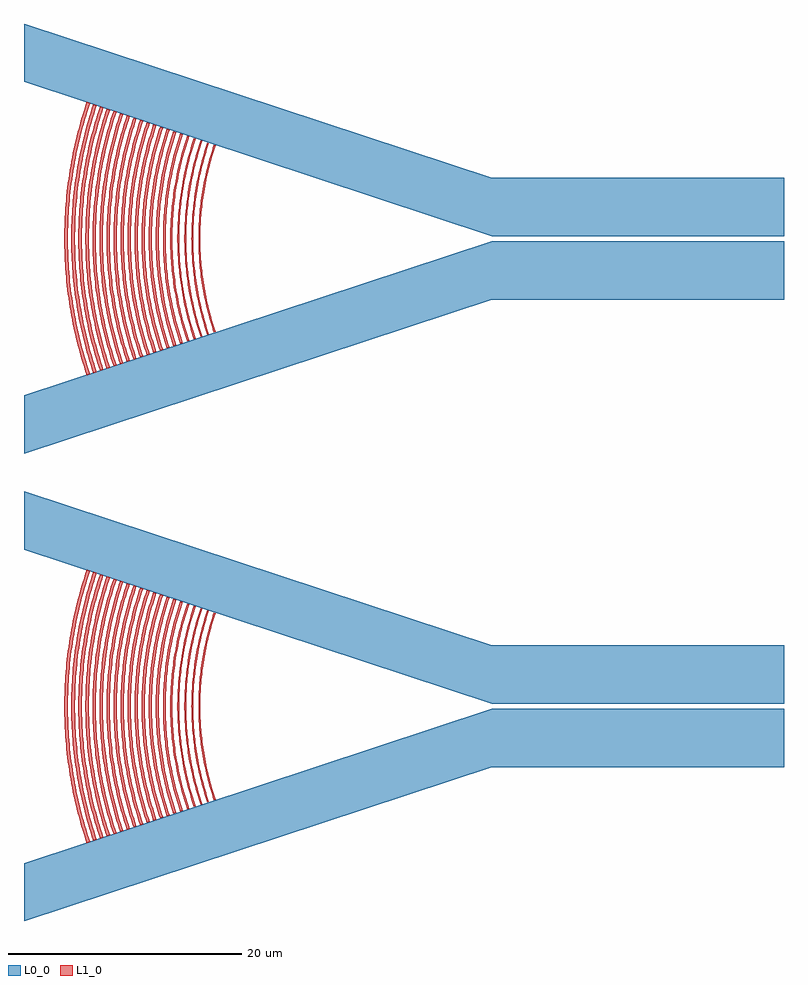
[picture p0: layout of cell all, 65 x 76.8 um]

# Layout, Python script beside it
from unicodedata import name
import numpy
import gdspy
from d2nn_construct import d2nn_construct

lib = gdspy.GdsLibrary()

def grating_demo(
    period,
    number_of_teeth,
    fill_frac,
    width,
    position,
    direction,
    lda=1,
    sin_theta=0,
    focus_distance=-1,
    focus_width=-1,
    tolerance=0.001,
    layer=0,
    datatype=0,
):
    """
    Straight or focusing grating.

    period          : grating period
    number_of_teeth : number of teeth in the grating
    fill_frac       : filling fraction of the teeth (w.r.t. the period)
    width           : width of the grating
    position        : grating position (feed point)
    direction       : one of {'+x', '-x', '+y', '-y'}
    lda             : free-space wavelength
    sin_theta       : sine of incidence angle
    focus_distance  : focus distance (negative for straight grating)
    focus_width     : if non-negative, the focusing area is included in
                      the result (usually for negative resists) and this
                      is the width of the waveguide connecting to the
                      grating
    tolerance       : same as in `path.parametric`
    layer           : GDSII layer number
    datatype        : GDSII datatype number

    Return `PolygonSet`
    """
    if focus_distance < 0:
        p = gdspy.L1Path(
            (
                position[0] - 0.5 * width,
                position[1] + 0.5 * (number_of_teeth - 1 + fill_frac) * period,
            ),
            "+x",
            period * fill_frac,
            [width],
            [],
            number_of_teeth,
            period,
            layer=layer,
            datatype=datatype,
        )
    else:
        neff = lda / float(period) + sin_theta
        qmin = int(focus_distance / float(period) + 0.5)
        p = gdspy.Path(period * fill_frac, position)
        c3 = neff ** 2 - sin_theta ** 2
        w = 0.5 * width
        for q in range(qmin, qmin + number_of_teeth):
            c1 = q * lda * sin_theta
            c2 = (q * lda) ** 2
            p.parametric(
                lambda t: (
                    width * t - w,
                    (c1 + neff * numpy.sqrt(c2 - c3 * (width * t - w) ** 2)) / c3,
                ),
                tolerance=tolerance,
                max_points=0,
                layer=layer,
                datatype=datatype,
            )
            p.x = position[0]
            p.y = position[1]
        sz = p.polygons[0].shape[0] // 2
        if focus_width == 0:
            p.polygons[0] = numpy.vstack((p.polygons[0][:sz, :], [position]))
        elif focus_width > 0:
            p.polygons[0] = numpy.vstack(
                (
                    p.polygons[0][:sz, :],
                    [
                        (position[0] + 0.5 * focus_width, position[1]),
                        (position[0] - 0.5 * focus_width, position[1]),
                    ],
                )
            )
        p.fracture()
    if direction == "-x":
        return p.rotate(0.5 * numpy.pi, position)
    elif direction == "+x":
        return p.rotate(-0.5 * numpy.pi, position)
    elif direction == "-y":
        return p.rotate(numpy.pi, position)
    else:
        return p

def grating_lumerical(
    period,
    number_of_teeth,
    fill_frac,
    width,
    position,
    direction,
    lda=1,
    sin_theta=0,
    focus_distance=-1,
    focus_width=-1,
    tolerance=0.001,
    layer=0,
    datatype=0,
):
    """
    Straight or focusing grating.

    period          : grating period
    number_of_teeth : number of teeth in the grating
    fill_frac       : filling fraction of the teeth (w.r.t. the period)
    width           : width of the grating
    position        : grating position (feed point)
    direction       : one of {'+x', '-x', '+y', '-y'}
    lda             : free-space wavelength
    sin_theta       : sine of incidence angle
    focus_distance  : focus distance (negative for straight grating)
    focus_width     : if non-negative, the focusing area is included in
                      the result (usually for negative resists) and this
                      is the width of the waveguide connecting to the
                      grating
    tolerance       : same as in `path.parametric`
    layer           : GDSII layer number
    datatype        : GDSII datatype number

    Return `PolygonSet`
    """
    tmp = lib.new_cell('tmp')
    if focus_distance < 0:
        p = gdspy.L1Path(
            (
                position[0] - 0.5 * width,
                position[1] + 0.5 * (number_of_teeth - 1 + fill_frac) * period,
            ),
            "+x",
            period * fill_frac,
            [width],
            [],
            number_of_teeth,
            period,
            layer=layer,
            datatype=datatype,
        )
        tmp.add(p)
    else:
        fill_frac = [0.15, 0.15, 0.15, 0.15, 0.17, 0.22, 0.25, 0.25, 0.27, 0.27, 0.264, 0.262, 0.263, 0.260, 0.264, 0.267, 0.289, 0.305, 0.314, 0.303]
        for q in range(number_of_teeth):
            p = gdspy.Path(fill_frac[q], position)
            c1 = q*period + focus_distance
            c2 = c1/focus_distance*focus_width/2 # tan(focusing angle) = focus_width/focus_distance
            p.parametric(
                lambda t: (
                    c2 * 2 * t - c2,
                    numpy.sqrt(c1**2 - (c2 * 2 * t - c2)**2),
                ),
                tolerance=tolerance,
                max_points=0,
                layer=layer,
                datatype=datatype,
            )
            p.fracture()
            tmp.add(p)

    if direction == "-x":
        return gdspy.CellArray(
            tmp, 1, 1, (0, 0), (position[0], position[1]), rotation = 90
        )
    elif direction == "+x":
        return gdspy.CellArray(
            tmp, 1, 1, (0, 0), (position[0], position[1]), rotation = - 90
        )
    elif direction == "-y":
        return gdspy.CellArray(
            tmp, 1, 1, (0, 0), (position[0], position[1]), rotation = 180
        )
    else:
        return gdspy.CellArray(
            tmp, 1, 1, (0, 0), (position[0], position[1]), rotation = 0
        )

if __name__ == "__main__":

    # Parameter
    width = 0.45
    ring_radius = 20.0
    big_margin = 10.0
    small_margin = 5.0
    taper_len = 50.0
    bus_len = 25.0 # waveguide length

    io_gap = 500.0
    wg_gap = 20.0
    ring_gaps = [0.06 + 0.02 * i for i in range(8)]

    # Grating Surround
    p_lumerical = gdspy.Path(
        small_margin, (0, 0), number_of_paths=2, distance=small_margin + width
    )
    p_lumerical.segment(40, "-x", final_distance=small_margin + 26.8)

    gratsur_lumerical = lib.new_cell("PGratSur_lumerical")
    gratsur_lumerical.add(p_lumerical)

    # Grating
    grat_lumerical = lib.new_cell("PGrat_lumerical")
    grat_lumerical.add(
        grating_lumerical(
            0.60,
            20,
            0.38,
            19,
            (0, 0),
            "-x",
            1.55,
            numpy.sin(numpy.pi * 10 / 180),
            focus_distance=25,
            focus_width=16,
            tolerance=0.001,
            layer=1,
        )
    )


    input_gap = 300.0 # distance between parallel waveguides
    x_offset = 0 # -3000-1400
    y_offset = 0

    
    layer_distance = 200
    input_distance = 100
    num_layers = 5
    wg_len = 300
    x_max = 0
    polygon_layer=2
    y_min = 0

    # Final Grating
    c = lib.new_cell("Positive")

    # waveguide
    path = gdspy.FlexPath(
        [(x_offset - input_gap * 0, 0)],
        width= [small_margin, small_margin],
        offset= small_margin + width,
        gdsii_path=True,
    )
    path.segment((0, bus_len), relative=True)
    path.rotate(-numpy.pi / 2, (x_offset, y_offset))

    c.add(path)

    # grating
    c.add(
        gdspy.CellArray(
            grat_lumerical, 1, 1, (-input_gap, 0), (x_offset, y_offset)
        )
    )
    c.add(
        gdspy.CellArray(
            gratsur_lumerical, 1, 1, (-input_gap, 0), (x_offset, y_offset)
        )
    )

    b = lib.new_cell("all")
    b.add((
        gdspy.CellArray(
            c, 1, 1, (-input_gap, 0), (x_offset, y_offset)
        ),
        gdspy.CellArray(
            c, 1, 1, (-input_gap, 0), (x_offset, y_offset - 40)
        )
    ))

    # Save to a gds file and check out the output
    lib.write_gds("grate_positive.gds")
    gdspy.LayoutViewer(lib)

    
